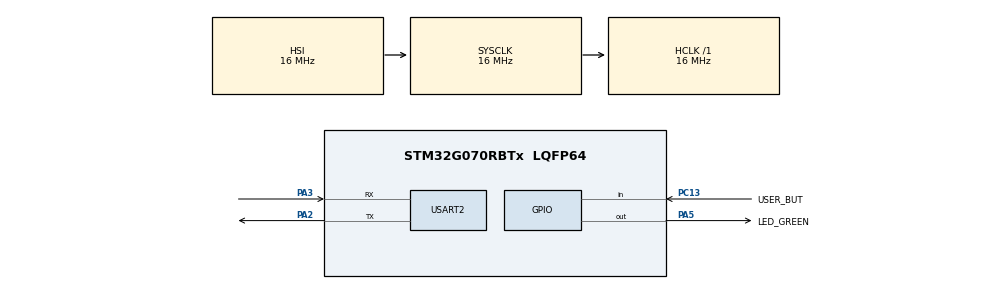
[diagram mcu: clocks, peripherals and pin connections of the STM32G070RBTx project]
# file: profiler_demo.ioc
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Dma.Request0=USART2_RX
Dma.Request1=USART2_TX
Dma.USART2_RX.0.Direction=DMA_PERIPH_TO_MEMORY
Dma.USART2_RX.0.EventEnable=DISABLE
Dma.USART2_RX.0.Instance=DMA1_Channel1
Dma.USART2_RX.0.MemDataAlignment=DMA_MDATAALIGN_BYTE
Dma.USART2_RX.0.MemInc=DMA_MINC_ENABLE
Dma.USART2_RX.0.Mode=DMA_NORMAL
Dma.USART2_RX.0.PeriphDataAlignment=DMA_PDATAALIGN_BYTE
Dma.USART2_RX.0.PeriphInc=DMA_PINC_DISABLE
Dma.USART2_RX.0.Polarity=HAL_DMAMUX_REQ_GEN_RISING
Dma.USART2_RX.0.Priority=DMA_PRIORITY_LOW
Dma.USART2_RX.0.RequestNumber=1
Dma.USART2_RX.0.SignalID=NONE
Dma.USART2_RX.0.SyncEnable=DISABLE
Dma.USART2_RX.0.SyncPolarity=HAL_DMAMUX_SYNC_NO_EVENT
Dma.USART2_RX.0.SyncRequestNumber=1
Dma.USART2_RX.0.SyncSignalID=NONE
Dma.USART2_TX.1.Direction=DMA_MEMORY_TO_PERIPH
Dma.USART2_TX.1.EventEnable=DISABLE
Dma.USART2_TX.1.Instance=DMA1_Channel2
Dma.USART2_TX.1.MemDataAlignment=DMA_MDATAALIGN_BYTE
Dma.USART2_TX.1.MemInc=DMA_MINC_ENABLE
Dma.USART2_TX.1.Mode=DMA_NORMAL
Dma.USART2_TX.1.PeriphDataAlignment=DMA_PDATAALIGN_BYTE
Dma.USART2_TX.1.PeriphInc=DMA_PINC_DISABLE
Dma.USART2_TX.1.Polarity=HAL_DMAMUX_REQ_GEN_RISING
Dma.USART2_TX.1.Priority=DMA_PRIORITY_LOW
Dma.USART2_TX.1.RequestNumber=1
Dma.USART2_TX.1.SignalID=NONE
Dma.USART2_TX.1.SyncEnable=DISABLE
Dma.USART2_TX.1.SyncPolarity=HAL_DMAMUX_SYNC_NO_EVENT
Dma.USART2_TX.1.SyncRequestNumber=1
Dma.USART2_TX.1.SyncSignalID=NONE
Mcu.Family=STM32G0
Mcu.Name=STM32G070RBTx
Mcu.Package=LQFP64
NVIC.DMA1_Channel1_IRQn=true\:0\:0\:false\:false\:true\:false\:true\:true
NVIC.DMA1_Channel2_3_IRQn=true\:0\:0\:false\:false\:true\:false\:true\:true
NVIC.TIM6_IRQn=true\:3\:0\:true\:false\:true\:false\:true\:true
NVIC.TimeBase=TIM6_IRQn
NVIC.TimeBaseIP=TIM6
NVIC.USART2_IRQn=true\:0\:0\:false\:false\:true\:true\:true\:true
PA13.GPIO_Label=TMS
PA13.Signal=SYS_SWDIO
PA14-BOOT0.GPIO_Label=TCK
PA14-BOOT0.Signal=SYS_SWCLK
PA2.Mode=Asynchronous
PA2.Signal=USART2_TX
PA3.Mode=Asynchronous
PA3.Signal=USART2_RX
PA5.GPIO_Label=LED_GREEN
PA5.GPIO_Speed=GPIO_SPEED_FREQ_HIGH
PA5.Signal=GPIO_Output
PC13.GPIO_Label=USER_BUT
PC13.Signal=GPIO_Input
PC14-OSC32_IN\ (PC14).Signal=RCC_OSC32_IN
PC15-OSC32_OUT\ (PC15).Signal=RCC_OSC32_OUT
PF0-OSC_IN\ (PF0).GPIO_Label=MCO
PF0-OSC_IN\ (PF0).Signal=RCC_OSC_IN
ProjectManager.HeapSize=0x200
ProjectManager.StackSize=0x400
ProjectManager.TargetToolchain=CMake
RCC.AHBFreq_Value=16000000
RCC.CortexFreq_Value=16000000
RCC.EXTERNAL_CLOCK_VALUE=12288000
RCC.HCLKFreq_Value=16000000
RCC.HSE_VALUE=8000000
RCC.HSI_VALUE=16000000
RCC.LSE_VALUE=32768
RCC.SYSCLKFreq_VALUE=16000000
RCC.VCOOutputFreq_Value=128000000
TIM1.TIM_MasterOutputTrigger=TIM_TRGO_UPDATE
TIM1.TIM_MasterSlaveMode=TIM_MASTERSLAVEMODE_DISABLE
TIM3.TIM_MasterSlaveMode=TIM_MASTERSLAVEMODE_DISABLE
USART2.VirtualMode-Asynchronous=VM_ASYNC
VP_SYS_VS_tim6.Mode=TIM6
VP_TIM1_VS_ClockSourceINT.Mode=Internal
VP_TIM3_VS_ClockSourceITR.Mode=TriggerSource_ITR0
VP_TIM3_VS_ControllerModeClock.Mode=Clock Mode
board=NUCLEO-G070RB

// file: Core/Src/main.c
/* USER CODE BEGIN Header */
/**
  ******************************************************************************
  * @file           : main.c
  * @brief          : Main program body - Profiler Demo & Ground-Truth Benchmark
  ******************************************************************************
  * @attention
  *
  * Copyright (c) 2026 STMicroelectronics.
  * All rights reserved.
  *
  * This software is licensed under terms that can be found in the LICENSE file
  * in the root directory of this software component.
  * If no LICENSE file comes with this software, it is provided AS-IS.
  *
  ******************************************************************************
  */
/* USER CODE END Header */
#include "main.h"
#include "dma.h"
#include "tim.h"
#include "usart.h"
#include "gpio.h"

/* USER CODE BEGIN Includes */
#include <stdbool.h>
#include <stddef.h>
#include <stdint.h>
#include <stdio.h>
#include <string.h>

#include "benchmark.h"
#include "profiler.h"
#include "profiler_port.h"
/* USER CODE END Includes */

void SystemClock_Config(void);

int main(void)
{

  /* MCU Configuration--------------------------------------------------------*/

  /* Reset of all peripherals, Initializes the Flash interface and the Systick. */
  HAL_Init();

  /* Configure the system clock */
  SystemClock_Config();

  /* Initialize all configured peripherals */
  MX_GPIO_Init();
  MX_DMA_Init();
  MX_USART2_UART_Init();
  MX_TIM1_Init();
  MX_TIM3_Init();
  /* USER CODE BEGIN 2 */
  if (!profiler_init(HAL_RCC_GetPCLK1Freq(), &huart2)) {
      Error_Handler();
  }

  profiler_start();
  /* USER CODE END 2 */

  /* Infinite loop */
  while (1)
  {

    /* USER CODE BEGIN 3 */
    (void)profiler_process();

    /* Benchmark workload execution under profiling */
    static const int32_t mat_a[4] = { 1, 2, 3, 4 };
    static const int32_t mat_b[4] = { 5, 6, 7, 8 };
    int32_t mat_out[4] = { 0, 0, 0, 0 };
    static const uint8_t crc_data[16] = {
        0x01U, 0x02U, 0x03U, 0x04U, 0x05U, 0x06U, 0x07U, 0x08U,
        0x09U, 0x0AU, 0x0BU, 0x0CU, 0x0DU, 0x0EU, 0x0FU, 0x10U
    };

    const uint32_t crit_state = profiler_port_enter_critical();

	/* benchmark with assembly bodies */
    bench_exact_100_cycles();
    bench_exact_500_cycles();
    bench_exact_1000_cycles();

	/* benchmark with C implementations */
    (void)bench_unrolled_poly32(3U);
    bench_matrix_mul_2x2(mat_a, mat_b, mat_out);
    (void)bench_fixed_loop_sum(25U);
    (void)bench_crc8_fixed_block(crc_data, sizeof(crc_data));

    profiler_port_exit_critical(crit_state);

	/* Benchmark user LED heartbeat */
    bench_update_user_led();

	/* Computed as idle time */
	HAL_Delay(5U);
  }
  /* USER CODE END 3 */
}

void SystemClock_Config(void)
{
  RCC_OscInitTypeDef RCC_OscInitStruct = {0};
  RCC_ClkInitTypeDef RCC_ClkInitStruct = {0};

  /** Configure the main internal regulator output voltage
  */
  HAL_PWREx_ControlVoltageScaling(PWR_REGULATOR_VOLTAGE_SCALE1);

  /** Initializes the RCC Oscillators according to the specified parameters
  * in the RCC_OscInitTypeDef structure.
  */
  RCC_OscInitStruct.OscillatorType = RCC_OSCILLATORTYPE_HSI;
  RCC_OscInitStruct.HSIState = RCC_HSI_ON;
  RCC_OscInitStruct.HSIDiv = RCC_HSI_DIV1;
  RCC_OscInitStruct.HSICalibrationValue = RCC_HSICALIBRATION_DEFAULT;
  RCC_OscInitStruct.PLL.PLLState = RCC_PLL_NONE;
  if (HAL_RCC_OscConfig(&RCC_OscInitStruct) != HAL_OK)
  {
    Error_Handler();
  }

  /** Initializes the CPU, AHB and APB buses clocks
  */
  RCC_ClkInitStruct.ClockType = RCC_CLOCKTYPE_HCLK|RCC_CLOCKTYPE_SYSCLK
                              |RCC_CLOCKTYPE_PCLK1;
  RCC_ClkInitStruct.SYSCLKSource = RCC_SYSCLKSOURCE_HSI;
  RCC_ClkInitStruct.AHBCLKDivider = RCC_SYSCLK_DIV1;
  RCC_ClkInitStruct.APB1CLKDivider = RCC_HCLK_DIV1;

  if (HAL_RCC_ClockConfig(&RCC_ClkInitStruct, FLASH_LATENCY_0) != HAL_OK)
  {
    Error_Handler();
  }
}

void HAL_TIM_PeriodElapsedCallback(TIM_HandleTypeDef *htim)
{
  if (htim->Instance == TIM6)
  {
    HAL_IncTick();
  }
  else if (htim->Instance == TIM1)
  {
    profiler_port_16bit_it_overflow_isr();
  }
}

void Error_Handler(void)
{
  __disable_irq();
  while (1)
  {
  }
}
